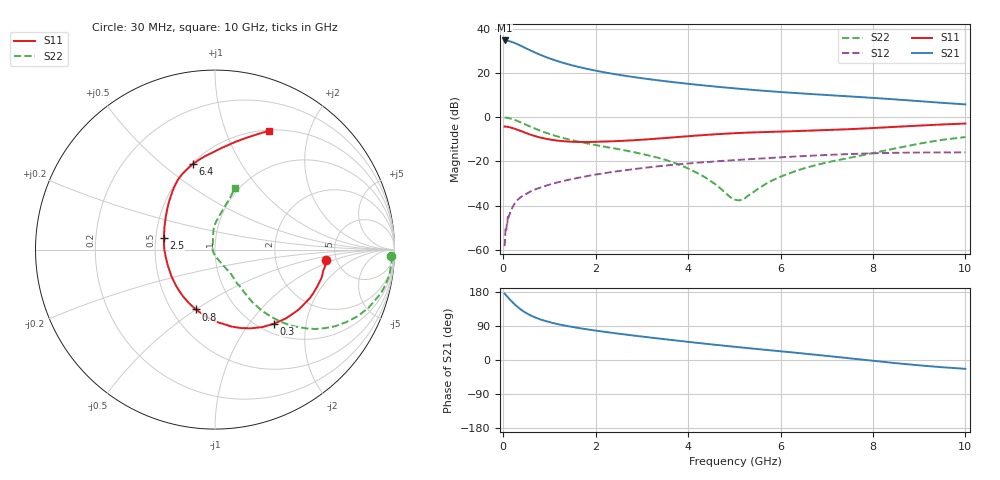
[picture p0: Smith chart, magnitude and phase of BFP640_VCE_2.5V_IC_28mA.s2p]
! Infineon Technologies  Discrete & RF Semiconductors
! BFP640
! VCE =  2.5 V,  IC =  28 mA
! Common Emitter S-Parameters:  Apr 2013
# GHz  S  MA  R  50
!  f  S11  S21  S12  S22
! GHz  MAG  ANG  MAG  ANG  MAG  ANG  MAG  ANG
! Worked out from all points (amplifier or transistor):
!   99 points, 30 MHz to 10 GHz, reference 50 ohm
!   highest |S21| = 34.9 dB at 30 MHz (marker M1)
!   |S21| within 3 dB of that: start of sweep to 438.1 MHz
!   unconditionally stable (mu >= 1): 2.328 GHz to end of sweep
!   at 350 MHz: K = 0.35, MSG = 34.8 dB, |S12| = -36.7 dB
!   at 3.5 GHz: K = 1.05, MAG = 17.8 dB, |S12| = -21.9 dB
!   at 10 GHz: K = 1.07, MAG = 9.3 dB, |S12| = -15.8 dB
!   S11 on the Smith chart (normalised r, x): 30 MHz: 4.12, -0.77; 300 MHz: 1.16, -1.33; 800 MHz: 0.66, -0.50; 2.5 GHz: 0.55, +0.08; 6.4 GHz: 0.51, +0.64; 10 GHz: 0.51, +1.42
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0.03  0.6207 -5.3  55.7 175.2  0.0012 71.2  0.9825 -2.2
0.08  0.6145 -14.5  55.07 168.3  0.0042 105.0  0.9831 -8.1
0.12  0.6018 -21.8  54.03 162.7  0.0056 81.4  0.966 -12.5
0.15  0.5939 -27.0  52.87 158.9  0.0071 83.1  0.9486 -15.7
0.2  0.5739 -35.6  50.9 152.5  0.0091 78.8  0.9159 -20.6
0.25  0.5519 -43.7  48.67 146.5  0.0112 70.6  0.8777 -25.0
0.3  0.5281 -51.4  46.18 141.1  0.0131 70.1  0.8357 -28.9
0.4  0.4823 -65.4  41.26 131.5  0.0161 67.8  0.7534 -35.5
0.5  0.4396 -77.6  36.68 123.8  0.0184 66.2  0.6771 -40.5
0.6  0.4025 -88.8  32.7 117.2  0.0212 64.0  0.6097 -44.4
0.7  0.3737 -98.6  29.27 111.9  0.0234 62.8  0.5514 -47.3
0.8  0.3503 -107.7  26.37 107.3  0.0255 61.2  0.5021 -49.5
1  0.3167 -123.7  21.86 100.0  0.0299 60.4  0.4219 -52.7
1.2  0.2959 -137.1  18.58 94.2  0.0341 59.5  0.3639 -54.4
1.7  0.2769 -163.8  13.44 83.1  0.0442 56.8  0.2721 -55.6
2.5  0.2916 167.4  9.267 69.4  0.0606 52.0  0.19 -56.7
3.4  0.3345 144.5  6.839 56.2  0.0787 45.0  0.1173 -60.4
5.1  0.443 117.2  4.477 33.8  0.1091 30.5  0.0131 -171.8
6.4  0.4915 104.5  3.536 18.3  0.1311 19.4  0.0643 100.2
6.7  0.5047 101.1  3.374 14.5  0.1358 16.5  0.0794 97.4
8.5  0.6122 79.1  2.555 -8.4  0.1577 -1.6  0.1994 81.5
10  0.7254 65.7  1.975 -23.3  0.1615 -13.6  0.3584 72.3
